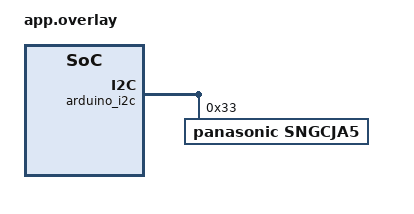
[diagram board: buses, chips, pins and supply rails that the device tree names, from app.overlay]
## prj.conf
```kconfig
CONFIG_BT=y
CONFIG_BT_DEBUG_LOG=y
CONFIG_UART_CONSOLE=n
CONFIG_UART_NRFX=n
```

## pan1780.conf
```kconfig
# Enable PM sensor drivers
CONFIG_I2C=y
CONFIG_SNGCJA5=y
CONFIG_SENSOR=y
# Enable Bluetooth
CONFIG_BT=y
CONFIG_BT_PERIPHERAL=y
CONFIG_BT_DEVICE_NAME="pan1780"
CONFIG_BT_DEVICE_APPEARANCE=1346
# Increase buffer sizes for max. MTU
CONFIG_BT_L2CAP_TX_MTU=144
CONFIG_BT_BUF_ACL_RX_SIZE=135
# Enable NUS
CONFIG_BT_NUS=y
```

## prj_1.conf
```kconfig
# Enable PM sensor drivers
CONFIG_I2C=y
CONFIG_SNGCJA5=y
CONFIG_SENSOR=y
# Enable Bluetooth
CONFIG_BT=y
CONFIG_BT_PERIPHERAL=y
CONFIG_BT_DEVICE_NAME="PAN1781"
CONFIG_BT_DEVICE_APPEARANCE=1346
# Increase buffer sizes for max. MTU
CONFIG_BT_L2CAP_TX_MTU=144
CONFIG_BT_BUF_ACL_RX_SIZE=135
# Enable NUS
CONFIG_BT_NUS=y
```

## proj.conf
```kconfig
# Enable PM sensor drivers
CONFIG_I2C=y
CONFIG_SNGCJA5=y
CONFIG_SENSOR=y
# Enable Bluetooth
CONFIG_BT=y
CONFIG_BT_PERIPHERAL=y
CONFIG_BT_DEVICE_NAME="pan1781"
CONFIG_BT_DEVICE_APPEARANCE=1346
# Increase buffer sizes for max. MTU
CONFIG_BT_L2CAP_TX_MTU=144
CONFIG_BT_BUF_ACL_RX_SIZE=135
# Enable NUS
CONFIG_BT_NUS=y
```

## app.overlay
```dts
&arduino_i2c {
	status = "okay";

	sngcja5@33 {
        label = "sngcja5";
		compatible = "panasonic,sngcja5";
		reg = <0x33>;
		status = "okay";
	};
};
```

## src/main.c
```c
/*
 * Copyright (c) 2022, Panasonic Industrial Devices Europe GmbH
 *
 * SPDX-License-Identifier: Apache-2.0
 */

#include <zephyr/types.h>
#include <stddef.h>
#include <sys/printk.h>
#include <sys/util.h>

#include <bluetooth/bluetooth.h>
#include <bluetooth/hci.h>

#define BT_GAP_ADV_BEACON_INT_MIN                 0x0640 * 4  /* 1 s      */
#define BT_GAP_ADV_BEACON_INT_MAX                 0x0780 * 4  /* 1.2 s    */

#define BT_LE_ADV_NCONN_BEACON BT_LE_ADV_PARAM(0, BT_GAP_ADV_BEACON_INT_MIN, BT_GAP_ADV_BEACON_INT_MAX, NULL)

/*
 * Set iBeacon demo advertisement data. These values are for
 * demonstration only and must be changed for production environments!
 *
 * UUID:  18ee1516-016b-4bec-ad96-bcb96d166e97
 * Major: 0
 * Minor: 0
 * RSSI:  -56 dBm
 */
static const struct bt_data ad[] = {
	BT_DATA_BYTES(BT_DATA_FLAGS, BT_LE_AD_NO_BREDR),
	BT_DATA_BYTES(BT_DATA_UUID128_ALL, 0xa8, 0x58, 0x0b, 0x1f, 0x43, 0x02, 0x7d, 0xab, 0xfe, 0x4f, 0xf1, 0x64, 0x6f, 0x53, 0xad, 0x61),
	BT_DATA_BYTES(BT_DATA_MANUFACTURER_DATA,
		      0x3a, 0x00, /* Panasonic */)
};

static void bt_ready(int err)
{
	if (err) {
		return;
	}

	/* Start advertising */
	err = bt_le_adv_start(BT_LE_ADV_NCONN_BEACON, ad, ARRAY_SIZE(ad), NULL, 0);
	if (err) {
		return;
	}
}

void main(void)
{
	int err;

	/* Initialize the Bluetooth Subsystem */
	err = bt_enable(bt_ready);
}
```
